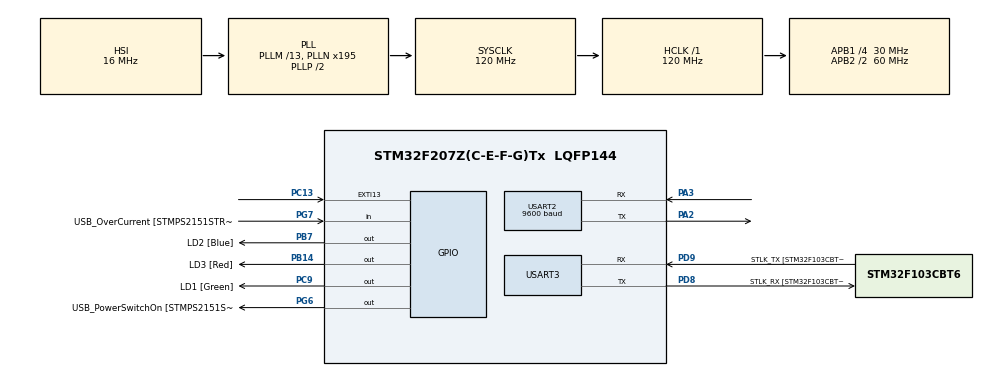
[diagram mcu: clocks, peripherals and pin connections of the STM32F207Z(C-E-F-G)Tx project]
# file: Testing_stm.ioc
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ADC1.Channel-0\#ChannelRegularConversion=ADC_CHANNEL_VREFINT
ADC1.Channel-1\#ChannelRegularConversion=ADC_CHANNEL_TEMPSENSOR
ADC1.ClockPrescaler=ADC_CLOCK_SYNC_PCLK_DIV4
ADC1.ContinuousConvMode=DISABLE
ADC1.DMAContinuousRequests=ENABLE
ADC1.ExternalTrigConv=ADC_EXTERNALTRIGCONV_T3_TRGO
ADC1.NbrOfConversion=2
ADC1.NbrOfConversionFlag=1
ADC1.Rank-0\#ChannelRegularConversion=1
ADC1.Rank-1\#ChannelRegularConversion=2
ADC1.SamplingTime-0\#ChannelRegularConversion=ADC_SAMPLETIME_480CYCLES
ADC1.SamplingTime-1\#ChannelRegularConversion=ADC_SAMPLETIME_480CYCLES
ADC1.ScanConvMode=ENABLE
ADC1.master=1
Dma.ADC1.0.Direction=DMA_PERIPH_TO_MEMORY
Dma.ADC1.0.FIFOMode=DMA_FIFOMODE_DISABLE
Dma.ADC1.0.Instance=DMA2_Stream0
Dma.ADC1.0.MemDataAlignment=DMA_MDATAALIGN_HALFWORD
Dma.ADC1.0.MemInc=DMA_MINC_ENABLE
Dma.ADC1.0.Mode=DMA_CIRCULAR
Dma.ADC1.0.PeriphDataAlignment=DMA_PDATAALIGN_HALFWORD
Dma.ADC1.0.PeriphInc=DMA_PINC_DISABLE
Dma.ADC1.0.Priority=DMA_PRIORITY_LOW
Dma.Request0=ADC1
Dma.Request1=USART2_RX
Dma.USART2_RX.1.Direction=DMA_PERIPH_TO_MEMORY
Dma.USART2_RX.1.FIFOMode=DMA_FIFOMODE_DISABLE
Dma.USART2_RX.1.Instance=DMA1_Stream5
Dma.USART2_RX.1.MemDataAlignment=DMA_MDATAALIGN_BYTE
Dma.USART2_RX.1.MemInc=DMA_MINC_ENABLE
Dma.USART2_RX.1.Mode=DMA_NORMAL
Dma.USART2_RX.1.PeriphDataAlignment=DMA_PDATAALIGN_BYTE
Dma.USART2_RX.1.PeriphInc=DMA_PINC_DISABLE
Dma.USART2_RX.1.Priority=DMA_PRIORITY_LOW
Mcu.Family=STM32F2
Mcu.Name=STM32F207Z(C-E-F-G)Tx
Mcu.Package=LQFP144
NVIC.ADC_IRQn=true\:0\:0\:false\:false\:true\:true\:true\:true
NVIC.DMA1_Stream5_IRQn=true\:0\:0\:false\:false\:true\:false\:true\:true
NVIC.DMA2_Stream0_IRQn=true\:0\:0\:false\:false\:true\:false\:true\:true
NVIC.EXTI15_10_IRQn=true\:3\:0\:true\:false\:true\:true\:true\:true
NVIC.PriorityGroup=NVIC_PRIORITYGROUP_4
NVIC.TIM2_IRQn=true\:1\:0\:true\:false\:true\:true\:true\:true
NVIC.TIM4_IRQn=true\:1\:0\:true\:false\:true\:true\:true\:true
NVIC.USART2_IRQn=true\:2\:0\:true\:false\:true\:true\:true\:true
PA13.GPIO_Label=TMS
PA13.Mode=Serial_Wire
PA13.Signal=SYS_JTMS-SWDIO
PA14.GPIO_Label=TCK
PA14.Mode=Serial_Wire
PA14.Signal=SYS_JTCK-SWCLK
PA2.Mode=Asynchronous
PA2.Signal=USART2_TX
PA3.Mode=Asynchronous
PA3.Signal=USART2_RX
PB14.GPIO_Label=LD3 [Red]
PB14.Signal=GPIO_Output
PB7.GPIO_Label=LD2 [Blue]
PB7.Signal=GPIO_Output
PC13.GPIO_ModeDefaultEXTI=GPIO_MODE_IT_RISING_FALLING
PC13.Signal=GPXTI13
PC9.GPIO_Label=LD1 [Green]
PC9.Signal=GPIO_Output
PD8.GPIO_Label=STLK_RX [STM32F103CBT6_PA3]
PD8.Mode=Asynchronous
PD8.Signal=USART3_TX
PD9.GPIO_Label=STLK_TX [STM32F103CBT6_PA2]
PD9.Mode=Asynchronous
PD9.Signal=USART3_RX
PG6.GPIO_Label=USB_PowerSwitchOn [STMPS2151STR_EN]
PG6.Signal=GPIO_Output
PG7.GPIO_Label=USB_OverCurrent [STMPS2151STR_FAULT]
PG7.Signal=GPIO_Input
PH0-OSC_IN.Mode=HSE-External-Oscillator
PH0-OSC_IN.Signal=RCC_OSC_IN
PH1-OSC_OUT.Mode=HSE-External-Oscillator
PH1-OSC_OUT.Signal=RCC_OSC_OUT
ProjectManager.HeapSize=0x200
ProjectManager.StackSize=0x400
ProjectManager.TargetToolchain=MDK-ARM V5
RCC.48MHZClocksFreq_Value=48000000
RCC.AHBFreq_Value=120000000
RCC.APB1CLKDivider=RCC_HCLK_DIV4
RCC.APB1Freq_Value=30000000
RCC.APB1TimFreq_Value=60000000
RCC.APB2CLKDivider=RCC_HCLK_DIV2
RCC.APB2Freq_Value=60000000
RCC.APB2TimFreq_Value=120000000
RCC.CortexFreq_Value=120000000
RCC.HCLKFreq_Value=120000000
RCC.HSE_VALUE=8000000
RCC.HSI_VALUE=16000000
RCC.LSE_VALUE=32768
RCC.PLLM=13
RCC.PLLMUL=RCC_PLL_MUL9
RCC.PLLN=195
RCC.PLLQ=5
RCC.PRESCALERUSB=RCC_USBCLKSOURCE_PLL_DIV1_5
RCC.SYSCLKFreq_VALUE=120000000
RCC.SYSCLKSource=RCC_SYSCLKSOURCE_PLLCLK
RCC.SYSCLKSourceVirtual=RCC_SYSCLKSOURCE_PLLCLK
RCC.USBFreq_Value=48000000
RCC.VCOOutputFreq_Value=240000000
TIM2.Period=10000-1
TIM2.Prescaler=6000-1
TIM3.Period=10000-1
TIM3.Prescaler=1200-1
TIM3.TIM_MasterOutputTrigger=TIM_TRGO_UPDATE
TIM4.Period=10000
TIM4.Prescaler=24000
USART2.BaudRate=9600
USART2.VirtualMode=VM_ASYNC
USART3.VirtualMode=VM_ASYNC
VP_ADC1_TempSens_Input.Mode=IN-TempSens
VP_ADC1_Vref_Input.Mode=IN-Vrefint
VP_RTC_VS_RTC_Activate.Mode=RTC_Enabled
VP_RTC_VS_RTC_Calendar.Mode=RTC_Calendar
VP_TIM2_VS_ClockSourceINT.Mode=Internal
VP_TIM3_VS_ClockSourceINT.Mode=Internal
VP_TIM4_VS_ClockSourceINT.Mode=Internal
board=NUCLEO-F207ZG

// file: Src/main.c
/* USER CODE BEGIN Header */
#include "tmpsensor.h"
#include "uart_printf.h"
#include "time.h"
#include <stdbool.h>
#include "nw_memory.h"
#include "startup.h"

/**
  ******************************************************************************
  * @file           : main.c
  * @brief          : Main program body
  ******************************************************************************
  * @attention
  *
  * <h2><center>&copy; Copyright (c) 2024 STMicroelectronics.
  * All rights reserved.</center></h2>
  *
  * This software component is licensed by ST under BSD 3-Clause license,
  * the "License"; You may not use this file except in compliance with the
  * License. You may obtain a copy of the License at:
  *                        opensource.org/licenses/BSD-3-Clause
  *
  ******************************************************************************
  */
/* USER CODE END Header */
#include "main.h"
#include "adc.h"
#include "dma.h"
#include "rtc.h"
#include "tim.h"
#include "usart.h"
#include "gpio.h"

/* USER CODE BEGIN PV */
typedef struct AdcValues{
uint16_t Raw[2]; /* Raw values from ADC */
double IntSensTmp; /* Temperature */
}adcval_t;
adcval_t Adc;

#define MainBuf_SIZE 50
#define RxBuf_SIZE 50

bool ADC_Flg = false;
bool user_button_Flg = false;
bool dma_rx_complete_flag = false;
bool writing_data = false;

RTC_DateTypeDef getDate = {0};
RTC_TimeTypeDef getTime = {0};
RTC_DateTypeDef* pDate = &getDate;
RTC_TimeTypeDef* pTime = &getTime;

uint8_t UART2_MainBuffer[MainBuf_SIZE];
uint8_t UART2_rxBuffer[MainBuf_SIZE];
uint8_t device_name[25];
uint8_t stm_convert_id[25];

/* USER CODE END PV */

void SystemClock_Config(void);

int main(void)
{
  /* USER CODE BEGIN 1 */
	char *header;
	uint8_t hours, minutes, seconds, *week_day, *month, day, year;
	uint32_t stm_id[3];
	uint32_t Rx_Data[50];

  /* USER CODE END 1 */

  /* MCU Configuration--------------------------------------------------------*/

  /* Reset of all peripherals, Initializes the Flash interface and the Systick. */
  HAL_Init();

  /* Configure the system clock */
  SystemClock_Config();

  /* Initialize all configured peripherals */
  MX_GPIO_Init();
  MX_DMA_Init();
  MX_USART3_UART_Init();
  MX_ADC1_Init();
  MX_TIM3_Init();
  MX_RTC_Init();
  MX_TIM2_Init();
  MX_TIM4_Init();
  MX_USART2_UART_Init();
  /* USER CODE BEGIN 2 */
	HAL_ADC_Start_DMA(&hadc1, (uint32_t*)Adc.Raw, 2);
	TIM3->SR &= ~TIM_SR_UIF;

		// Loads data from flash

	//first_boot(); // for debugging
	if (Flash_Read_Data(0x080E0000, Rx_Data)) first_boot(); // writes data for first boot
	else star_function(Rx_Data);

	// gets STM UID
	stm_id[0]=HAL_GetUIDw0();
	stm_id[1]=HAL_GetUIDw1();
	stm_id[2]=HAL_GetUIDw2();
	UID_convert(stm_id, stm_convert_id);

	//HAL_UART_Receive_IT (&huart2, UART2_rxBuffer, 25);

	HAL_UARTEx_ReceiveToIdle_DMA(&huart2, UART2_rxBuffer, RxBuf_SIZE);
	__HAL_DMA_DISABLE_IT(&hdma_usart2_rx, DMA_IT_HT);

	HAL_TIM_Base_Start_IT(&htim2);
  HAL_TIM_Base_Start_IT(&htim3);
	HAL_TIM_Base_Start_IT(&htim4);

  /* USER CODE END 2 */

  /* Infinite loop */

    /* USER CODE BEGIN 3 */

		while(1)
		{
			if (dma_rx_complete_flag) {
				UART_Printf_Dbg("New message\r\n");
				header = strtok((char *)UART2_MainBuffer, ",");
				if (strcmp(header, "COMMAND_DATE") == 0) // date sync command
					{
						hours = (uint8_t)atoi(strtok(NULL, ","));
						minutes = (uint8_t)atoi(strtok(NULL, ","));
						seconds = (uint8_t)atoi(strtok(NULL, ","));
						week_day = (uint8_t*)strtok(NULL, ",");
						month = (uint8_t*)strtok(NULL, ",");
						day =  (uint8_t)atoi(strtok(NULL, ","));
						year = (uint8_t)atoi(strtok(NULL, ","));
						HAL_GPIO_TogglePin (GPIOB, GPIO_PIN_7);
						HAL_Delay(1000);
						HAL_GPIO_TogglePin (GPIOB, GPIO_PIN_7);
						TIME_setTime(hours, minutes, seconds, week_day, month, day, year);
					}
				else if (strcmp(header, "COMMAND_NAME") == 0) // gets command with new name
				{
					memset(device_name, '\0', 25);
					strcpy((char*)device_name, strtok(NULL, ","));
					//HAL_GPIO_TogglePin (GPIOC, GPIO_PIN_9); //green led is dead :/
					HAL_GPIO_TogglePin (GPIOB, GPIO_PIN_7); // blue led
					HAL_Delay(1000);
					HAL_GPIO_TogglePin (GPIOB, GPIO_PIN_7);
					/*if (!writing_data)
					{
					writing_data = true;
					data_save(device_name,pTime->Hours,pTime->Minutes, pTime->Seconds, pDate->WeekDay, pDate->Month, pDate->Date, pDate->Year;
					writing_data = false;
					}*/ // for some reason UARTS2 stops working after this
				}
				else // bad command
				{
					UART_Printf_Dbg("Bad message\r\n");
					HAL_GPIO_TogglePin (GPIOB, GPIO_PIN_14);
					HAL_Delay(1000);
					HAL_GPIO_TogglePin (GPIOB, GPIO_PIN_14);
				}
				memset(UART2_MainBuffer, '\0', MainBuf_SIZE);
				dma_rx_complete_flag = false;

			}
			HAL_Delay(50);
		}
  /* USER CODE END 3 */
}

void SystemClock_Config(void)
{
  RCC_OscInitTypeDef RCC_OscInitStruct = {0};
  RCC_ClkInitTypeDef RCC_ClkInitStruct = {0};
  RCC_PeriphCLKInitTypeDef PeriphClkInitStruct = {0};

  /** Initializes the RCC Oscillators according to the specified parameters
  * in the RCC_OscInitTypeDef structure.
  */
  RCC_OscInitStruct.OscillatorType = RCC_OSCILLATORTYPE_HSI|RCC_OSCILLATORTYPE_LSI;
  RCC_OscInitStruct.HSIState = RCC_HSI_ON;
  RCC_OscInitStruct.HSICalibrationValue = RCC_HSICALIBRATION_DEFAULT;
  RCC_OscInitStruct.LSIState = RCC_LSI_ON;
  RCC_OscInitStruct.PLL.PLLState = RCC_PLL_ON;
  RCC_OscInitStruct.PLL.PLLSource = RCC_PLLSOURCE_HSI;
  RCC_OscInitStruct.PLL.PLLM = 13;
  RCC_OscInitStruct.PLL.PLLN = 195;
  RCC_OscInitStruct.PLL.PLLP = RCC_PLLP_DIV2;
  RCC_OscInitStruct.PLL.PLLQ = 5;
  if (HAL_RCC_OscConfig(&RCC_OscInitStruct) != HAL_OK)
  {
    Error_Handler();
  }

  /** Initializes the CPU, AHB and APB buses clocks
  */
  RCC_ClkInitStruct.ClockType = RCC_CLOCKTYPE_HCLK|RCC_CLOCKTYPE_SYSCLK
                              |RCC_CLOCKTYPE_PCLK1|RCC_CLOCKTYPE_PCLK2;
  RCC_ClkInitStruct.SYSCLKSource = RCC_SYSCLKSOURCE_PLLCLK;
  RCC_ClkInitStruct.AHBCLKDivider = RCC_SYSCLK_DIV1;
  RCC_ClkInitStruct.APB1CLKDivider = RCC_HCLK_DIV4;
  RCC_ClkInitStruct.APB2CLKDivider = RCC_HCLK_DIV2;

  if (HAL_RCC_ClockConfig(&RCC_ClkInitStruct, FLASH_LATENCY_3) != HAL_OK)
  {
    Error_Handler();
  }
  PeriphClkInitStruct.PeriphClockSelection = RCC_PERIPHCLK_RTC;
  PeriphClkInitStruct.RTCClockSelection = RCC_RTCCLKSOURCE_LSI;
  if (HAL_RCCEx_PeriphCLKConfig(&PeriphClkInitStruct) != HAL_OK)
  {
    Error_Handler();
  }
}

/* USER CODE BEGIN 4 */
void HAL_ADC_ConvCpltCallback(ADC_HandleTypeDef* hadc)
{
    if(hadc->Instance == ADC1) /* Check if the interrupt comes from ACD1 */
    {
		ADC_Flg = true;
    }
}
void HAL_GPIO_EXTI_Callback(uint16_t GPIO_Pin)
{

    if(GPIO_Pin == GPIO_PIN_13) // If The INT Source Is EXTI Line13 (PC13 Pin)
    {
			if(HAL_GPIO_ReadPin (GPIOC, GPIO_PIN_13)) user_button_Flg = true;
			else user_button_Flg = false;
			//UART_Printf_Dbg("Button trigger\r\n");
    }
}
void HAL_TIM_PeriodElapsedCallback(TIM_HandleTypeDef *htim)
{
  if (htim == &htim2 )
  {
		if (ADC_Flg)
		{
			TIME_getdate_time(&pDate,&pTime);
			ADC_Flg = false;
			Adc.IntSensTmp = TMPSENSOR_getTemperature(Adc.Raw[1], Adc.Raw[0]);
			//UART_Printf_Dbg("%02d:%02d:%02d\r\n", pTime->Hours, pTime->Minutes, pTime->Seconds);
			//UART_Printf_Dbg("%02d/%02d/%02d\r\n", pDate->Date,  pDate->Month,  (pDate->Year)+2000);
			//UART_Printf_Dbg("Reference: Adc.Raw[0] = %u\r\n", Adc.Raw[0]);
			//UART_Printf_Dbg("Sensor: Adc.Raw[1] = %u\r\n", Adc.Raw[1]);
			//UART_Printf_Dbg("Temperature: Adc.IntSensTmp = %.2f?\r\n", Adc.IntSensTmp);
			//UART_Printf_Dbg("Button status: %s\r\n", user_button_Flg ? "True" : "False");

			// Outputs data to UI
			UART_Printf("SENSOR_DATA,%.2f,%02d,%02d,%02d,%02d,%02d,%02d,%d,%s,%s,\n",Adc.IntSensTmp,pTime->Hours, pTime->Minutes, pTime->Seconds,pDate->Date,  pDate->Month, pDate->Year, user_button_Flg, stm_convert_id, device_name);
			//UART_Printf_Dbg("SENSOR_DATA,%.2f,%02d,%02d,%02d,%02d,%02d,%02d,%d\r\n",Adc.IntSensTmp,pTime->Hours, pTime->Minutes, pTime->Seconds,pDate->Date,  pDate->Month, pDate->Year, user_button_Flg);
		}
  }
		else if (htim == &htim4) // AUTO SAVES DATA
			{
				if (!writing_data)
				{
					writing_data = true;
					data_save(device_name,pTime->Hours,pTime->Minutes, pTime->Seconds, pDate->WeekDay, pDate->Month, pDate->Date, pDate->Year);
					writing_data = false;
				}
			}
}

void HAL_UARTEx_RxEventCallback(UART_HandleTypeDef *huart, uint16_t Size)
{
	if (huart->Instance == USART2)
	{

		memcpy ((uint8_t *)UART2_MainBuffer, UART2_rxBuffer, Size);
		dma_rx_complete_flag = true;

		/* start the DMA again */
		HAL_UARTEx_ReceiveToIdle_DMA(&huart2, (uint8_t *) UART2_rxBuffer, RxBuf_SIZE);
		__HAL_DMA_DISABLE_IT(&hdma_usart2_rx, DMA_IT_HT);

	}
}
/* USER CODE END 4 */

void Error_Handler(void)
{
}
